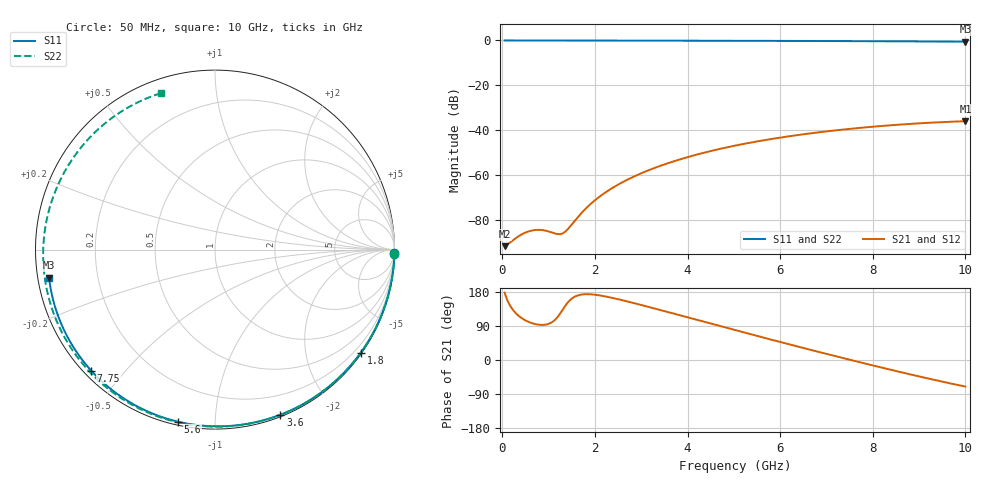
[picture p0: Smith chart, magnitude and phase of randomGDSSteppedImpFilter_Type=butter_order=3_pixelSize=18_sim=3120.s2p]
! freq	dB(S11)	phase(S11)	dB(S12)	phase(S12)
!  dB(S21)	phase(S21)	dB(S22)	phase(S22)
!S-par simulation data
#  GHz  S  DB  R 50
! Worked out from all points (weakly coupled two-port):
!   200 points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, 50 MHz to 10 GHz, reference 50 ohm
!   highest |S21| = -36.01 dB at 10 GHz (marker M1); lowest = -91.7 dB at 50 MHz (marker M2)
!   lowest |S11| = -0.6 dB at 10 GHz (marker M3), VSWR 31.18, Z = 1.61 - j4.18 ohm
!   |S11| at or under -10 dB: nowhere
!   |S22| runs from -0.7 to 0.0 dB; largest |S21 - S12| = 0
!   S11 on the Smith chart (normalised r, x): 50 MHz: open; 1.8 GHz: 0.03, -3.15; 3.6 GHz: 0.02, -1.47; 5.6 GHz: 0.02, -0.81; 7.75 GHz: 0.02, -0.41; 10 GHz: 0.03, -0.08
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0.05  -0.00 -1.0  -91.74 177.8  -91.74 177.8  -0.00 -1.4
0.75  -0.02 -14.9  -84.48 93.9  -84.48 93.9  -0.02 -20.2
1.55  -0.04 -30.5  -80.81 166.1  -80.81 166.1  -0.05 -41.2
1.6  -0.04 -31.4  -79.55 169.1  -79.55 169.1  -0.05 -42.5
1.75  -0.04 -34.3  -76.06 173.3  -76.06 173.3  -0.06 -46.3
1.8  -0.04 -35.3  -75.01 173.6  -75.01 173.6  -0.06 -47.6
2.1  -0.05 -40.9  -69.65 170.5  -69.65 170.5  -0.07 -55.2
2.45  -0.06 -47.5  -64.89 161.9  -64.89 161.9  -0.08 -64.0
2.9  -0.07 -55.8  -60.14 148.3  -60.14 148.3  -0.10 -75.0
3.4  -0.09 -64.8  -56.00 132.3  -56.00 132.3  -0.11 -86.9
3.6  -0.09 -68.4  -54.58 125.7  -54.58 125.7  -0.12 -91.6
4.3  -0.11 -80.5  -50.36 102.8  -50.36 102.8  -0.15 -107.7
5.05  -0.14 -93.1  -46.81 78.2  -46.81 78.2  -0.19 -124.6
5.6  -0.17 -102.1  -44.68 60.4  -44.68 60.4  -0.22 -136.8
6.15  -0.20 -110.9  -42.86 42.8  -42.86 42.8  -0.26 -149.1
6.7  -0.23 -119.5  -41.31 25.5  -41.31 25.5  -0.30 -161.5
7.25  -0.27 -128.0  -39.98 8.4  -39.98 8.4  -0.36 -174.4
7.75  -0.31 -135.6  -38.93 -6.8  -38.93 -6.8  -0.41 173.5
8.35  -0.37 -144.8  -37.88 -24.7  -37.88 -24.7  -0.48 158.2
9.15  -0.45 -157.1  -36.78 -47.6  -36.78 -47.6  -0.58 135.8
9.6  -0.51 -164.1  -36.32 -59.8  -36.32 -59.8  -0.64 122.1
10  -0.56 -170.4  -36.01 -70.1  -36.01 -70.1  -0.70 109.1
